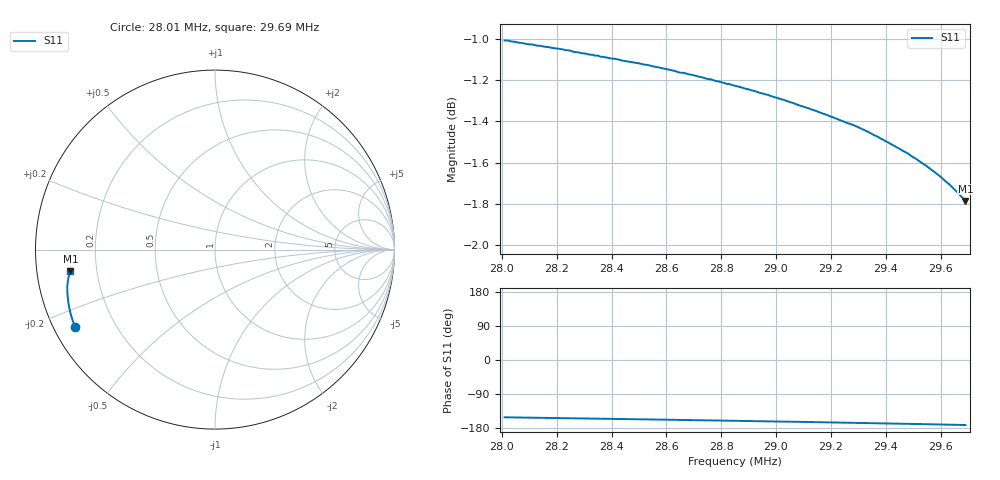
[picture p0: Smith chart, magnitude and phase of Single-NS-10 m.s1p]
# HZ S RI R 50
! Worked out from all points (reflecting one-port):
!   169 points, 28.01 MHz to 29.69 MHz, reference 50 ohm
!   lowest |S11| = -1.8 dB at 29.69 MHz (marker M1), VSWR 9.76, Z = 5.15 - j3.65 ohm
!   phase of S11 starts at -151 deg and turns -20 deg over the sweep
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2.801e7  -0.7804 -0.4291
2.811004e7  -0.7863 -0.4139
2.822008e7  -0.7923 -0.397
2.82501e7  -0.794 -0.3922
2.82601e7  -0.7943 -0.3903
2.833013e7  -0.7979 -0.3794
2.834013e7  -0.7983 -0.3776
2.835014e7  -0.7989 -0.3763
2.836014e7  -0.7992 -0.3744
2.843017e7  -0.8027 -0.3632
2.853021e7  -0.8072 -0.3467
2.864025e7  -0.8113 -0.328
2.866026e7  -0.8122 -0.3245
2.87503e7  -0.815 -0.309
2.87603e7  -0.8155 -0.3073
2.885034e7  -0.818 -0.2913
2.897038e7  -0.8207 -0.2695
2.906042e7  -0.8221 -0.2526
2.918047e7  -0.8231 -0.2295
2.92605e7  -0.8231 -0.2137
2.92705e7  -0.8231 -0.212
2.930052e7  -0.823 -0.206
2.937054e7  -0.822 -0.1912
2.948059e7  -0.8191 -0.1677
2.954061e7  -0.8165 -0.1544
2.960064e7  -0.813 -0.1409
2.964065e7  -0.81 -0.1316
2.969067e7  -0.8053 -0.1195
